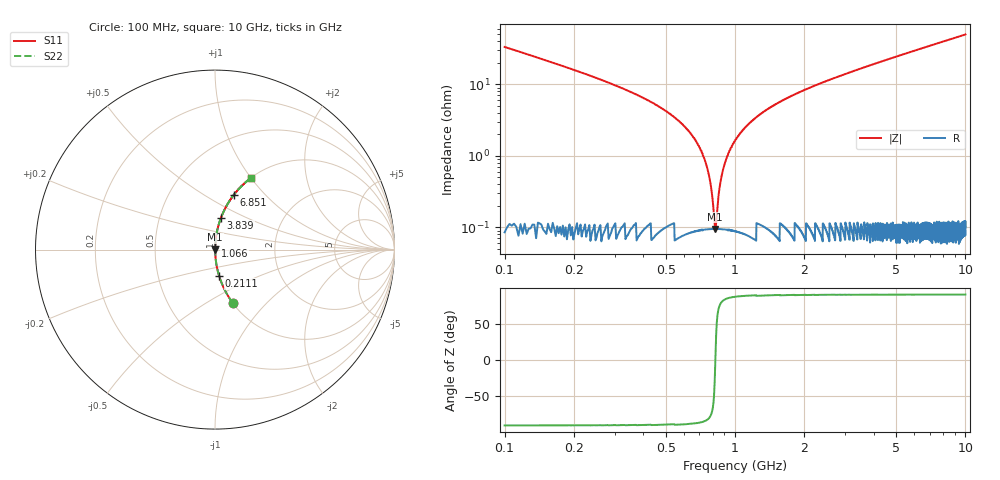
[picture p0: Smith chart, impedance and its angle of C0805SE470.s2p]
! AVX Thin Film Operation		Date: April 2012
! Description: Accu-P® Series, Thin Film, SMD, RF Capacitor
! Part Number: 08053K470FBTTR
!	100	MHz	-	10.05	GHz
!	Serial	Measurements
#	MHZ	S	MA	R	50
!	S11	S21	S12	S22
!	dB	Phase	dB	Phase	dB	Phase	dB	Phase
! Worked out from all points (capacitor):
!   4010 points, 100 MHz to 10 GHz, reference 50 ohm
!   read as one part in series: C = 47 pF near 149.4 MHz
!   lowest |Z| = 95.3 mohm at 821.1 MHz (marker M1)
!   series resonance near 821.7 MHz, so ESL is about 800 pH
!   S11 on the Smith chart (normalised r, x): 100 MHz: 1.00, -0.67; 211.1 MHz: 1.00, -0.30; 1.066 GHz: 1.00, +0.04; 3.839 GHz: 1.00, +0.37; 6.851 GHz: 1.00, +0.68; 10 GHz: 1.00, +1.00
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100  0.316 -71.4  0.948 18.4  0.948 18.4  0.316 -71.4
211.125  0.148 -81.1  0.988 8.5  0.988 8.5  0.148 -81.1
542.03  0.035 -86.5  0.998 2.0  0.998 2.0  0.035 -86.5
648.217  0.02 -86.3  0.999 1.1  0.999 1.1  0.02 -86.3
722.3  0.011 -84.6  0.999 0.6  0.999 0.6  0.011 -84.6
751.933  0.00737 -82.6  0.999 0.4  0.999 0.4  0.00737 -82.6
788.975  0.00347 -74.8  0.999 0.2  0.999 0.2  0.00347 -74.8
821.078  0.000902 -4.0  0.999 0.0  0.999 0.0  0.000902 -4.0
853.18  0.00322 73.6  0.999 -0.2  0.999 -0.2  0.00322 73.6
895.161  0.00712 82.3  0.999 -0.4  0.999 -0.4  0.00712 82.3
934.672  0.011 84.6  0.999 -0.6  0.999 -0.6  0.011 84.6
1065.553  0.022 86.4  0.999 -1.2  0.999 -1.2  0.022 86.4
1327.314  0.041 86.4  0.998 -2.3  0.998 -2.3  0.041 86.4
1752.058  0.068 85.3  0.997 -3.9  0.997 -3.9  0.068 85.3
2448.441  0.108 83.3  0.993 -6.2  0.993 -6.2  0.108 83.3
3401.646  0.158 80.6  0.986 -9.1  0.986 -9.1  0.158 80.6
3838.738  0.181 79.3  0.983 -10.4  0.983 -10.4  0.181 79.3
5051.235  0.239 75.9  0.97 -13.8  0.97 -13.8  0.239 75.9
6700.823  0.314 71.5  0.949 -18.3  0.949 -18.3  0.314 71.5
6851.459  0.321 71.2  0.946 -18.7  0.946 -18.7  0.321 71.2
8350.412  0.383 67.4  0.923 -22.5  0.923 -22.5  0.383 67.4
10000  0.446 63.4  0.894 -26.5  0.894 -26.5  0.446 63.4
